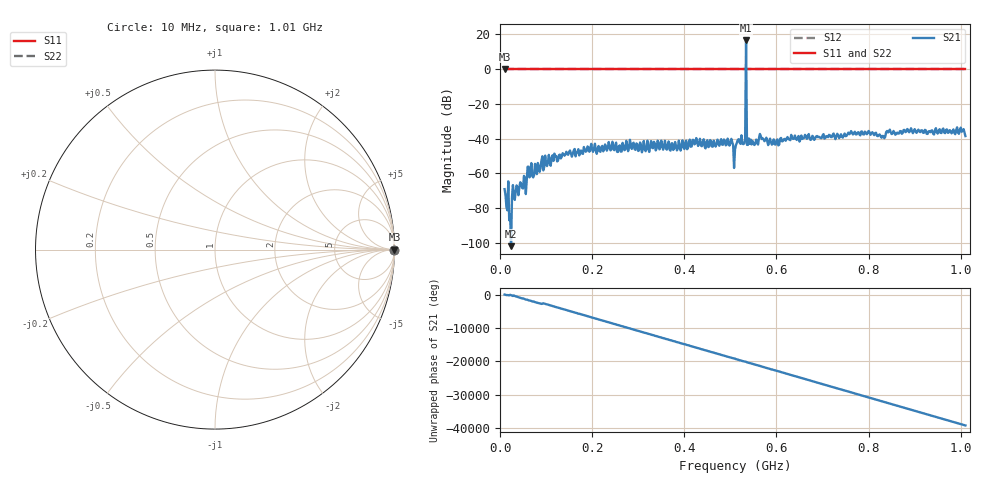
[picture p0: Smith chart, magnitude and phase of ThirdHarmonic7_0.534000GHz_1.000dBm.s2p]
! 8/17/2025 3:56:01 PM
! C:\ANRITSUVNA\TEMP\TEMP.S2P
! CHANNEL.1
! TR.MEASUREMENT
! RAW.DATA
! RF.CORRECTION.OFF
! AVERAGING.OFF
! IF.BANDWIDTH: 5KHZ
! SWEEPTYPE:  FREQ.SWEEP(Linear)
! Reference Plane Port Info
! PORT:  PORT1  PORT2
! DISTANCE:  0  m  0  m
! TIME:  0  s  0  s
! PHASE.OFFSET:  0  deg.  0  deg.
! LOSS:  0  dB  0  dB
! REF.LOSS:  0  dB  0  dB
! REF.FREQ:  0  Hz  0  Hz
! Power Info
! POWER:  -20  dBm  -20  dBm
! EFF.POWER:  -20  dBm  -20  dBm
! SOURCE.ATTEN:  0  dB  0  dB
! TEST.ATTEN:  0  dB  0  dB
# GHZ S RI R 50.0
! FREQ.GHZ  S11RE  S11IM  S21RE  S21IM  S12RE  S12IM  S22RE  S22IM
!; PortSelection: Port_12
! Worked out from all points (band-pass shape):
!   501 points, 10 MHz to 1.01 GHz, reference 50 ohm
!   highest |S21| = 16.45 dB at 534 MHz (marker M1); lowest = -101.9 dB at 24 MHz (marker M2)
!   |S21| within 3 dB of the highest: 533.8951 MHz to 534.0999 MHz (204.8 kHz wide, 0.0384 % of centre)
!   lowest |S11| = 0.0 dB at 10 MHz (marker M3)
!   |S11| at or under -10 dB: nowhere
!   |S22| runs from 0.0 to 0.0 dB; largest |S21 - S12| = 5.7
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0.01  1 0  -0.000156 0.000314  1 0  1 0
0.024  1 0  2.9e-06 -7.5e-06  1 0  1 0
0.032  1 0  9.11e-05 0.000146  1 0  1 0
0.052  1 0  0.000417 -0.000735  1 0  1 0
0.064  1 0  -0.000394 0.000659  1 0  1 0
0.074  1 0  -0.000496 0.00074  1 0  1 0
0.116  1 0  -0.00226 0.000315  1 0  1 0
0.178  1 0  -0.00365 -0.00076  1 0  1 0
0.344  1 0  0.00736 -0.00268  1 0  1 0
0.498  1 0  0.00393 -0.00488  1 0  1 0
0.51  1 0  -0.00092 -0.00484  1 0  1 0
0.516  1 0  0.00707 -0.00564  1 0  1 0
0.528  1 0  -0.0069 -0.000685  1 0  1 0
0.53  1 0  -0.00272 0.00675  1 0  1 0
0.534  1 0  6.494 1.407  1 0  1 0
0.538  1 0  -0.00624 0.00212  1 0  1 0
0.54  1 0  0.00334 0.0095  1 0  1 0
0.678  1 0  0.00624 -0.0103  1 0  1 0
0.766  1 0  0.0131 0.00113  1 0  1 0
0.832  1 0  -0.00732 -0.00921  1 0  1 0
0.844  1 0  -0.00804 0.014  1 0  1 0
1.01  1 0  0.00168 -0.0117  1 0  1 0
